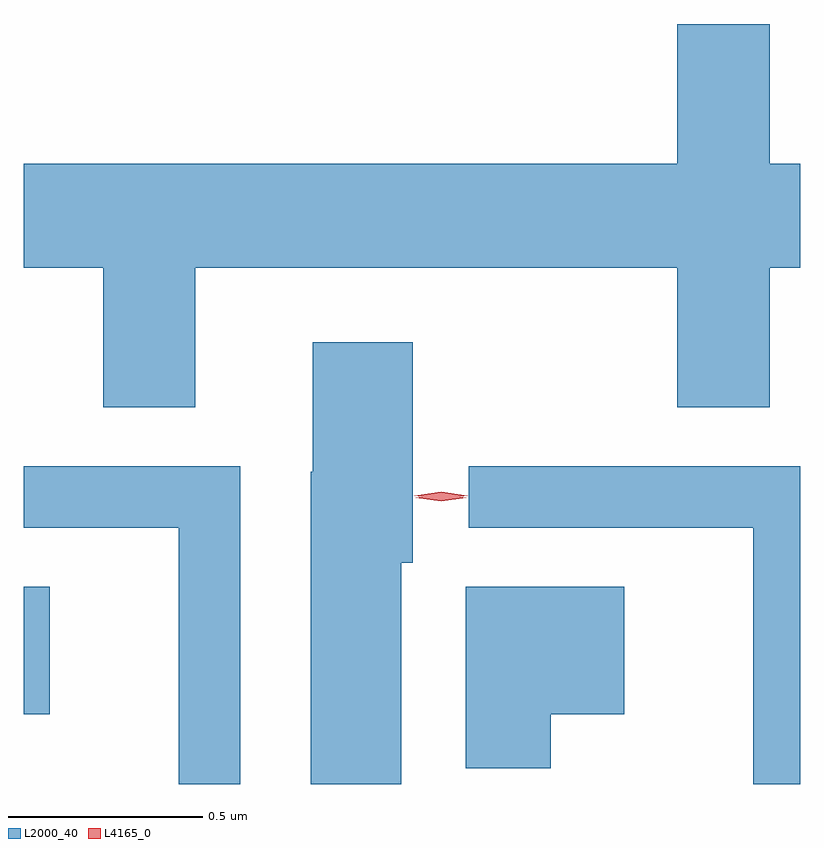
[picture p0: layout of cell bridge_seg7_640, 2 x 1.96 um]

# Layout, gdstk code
import gdstk
lib = gdstk.Library(unit=1e-6, precision=1e-09)
def R(c, l, rs):  # rectangles x0, y0, x1, y1
    for r in rs: c.add(gdstk.rectangle(r[:2], r[2:], *l))
def P(c, l, *ps):  # polygons
    for p in ps: c.add(gdstk.Polygon(p, *l))
L2000_40 = (2000, 40)
L4165_0 = (4165, 0)

bridge_seg7_640 = lib.new_cell('bridge_seg7_640')
R(bridge_seg7_640, L2000_40, [(769.892,1695.406,769.959,1695.734)])
P(bridge_seg7_640, L2000_40, [(770.334,1696.556),(771.576,1696.556),(771.576,1696.196),(771.814,1696.196),(771.814,1696.556),(771.892,1696.556),(771.892,1696.824),(771.814,1696.824),(771.814,1697.184),(771.576,1697.184),(771.576,1696.824),(769.892,1696.824),(769.892,1696.556),(770.096,1696.556),(770.096,1696.196),(770.334,1696.196)],
  [(770.864,1695.796),(770.894,1695.796),(770.894,1696.364),(770.636,1696.364),(770.636,1696.03),(770.631,1696.03),(770.631,1695.226),(770.864,1695.226)],
  [(770.449,1696.044),(769.892,1696.044),(769.892,1695.886),(770.291,1695.886),(770.291,1695.226),(770.449,1695.226)],
  [(771.892,1696.044),(771.038,1696.044),(771.038,1695.886),(771.771,1695.886),(771.771,1695.226),(771.892,1695.226)],
  [(771.249,1695.406),(771.439,1695.406),(771.439,1695.734),(771.031,1695.734),(771.031,1695.266),(771.249,1695.266)])
P(bridge_seg7_640, L4165_0, [(770.967,1695.959),(770.898,1695.968),(770.898,1695.969),(770.898,1695.969),(770.967,1695.979),(771.036,1695.969),(771.036,1695.968),(771.036,1695.968)],
  [(770.967,1695.954),(770.902,1695.963),(770.901,1695.963),(770.902,1695.964),(770.967,1695.973),(771.032,1695.964),(771.032,1695.963),(771.032,1695.963)])

lib.write_gds('bridge_seg7_640.gds')
